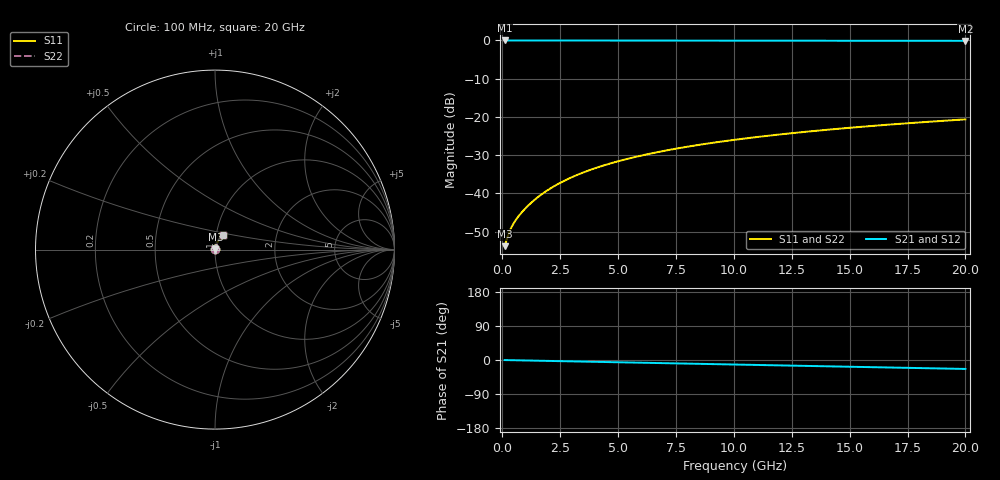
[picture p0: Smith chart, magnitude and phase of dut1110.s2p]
! Touchstone file exported from HFSS 2026.1.0
!  File:  C:/ffzhzh/LocalFiles/Ansys_Project_Files/temp_train_TMRDL_1110_1783161425_43440.aedt
!  Generated:  06:38:12 PM Jul  4, 2026
!  Design:  TMRDL
!  Project:  temp_train_TMRDL_1110_1783161425_43440
! Variables:
!  h_bsmrdl = 2um
!  h_ox = 20um
!  h_rdl = 5um
!  h_sub = 80um
!  h_tmrdl = 3.14um
!  h_tsv = 80um
!  h_via = 3um
!  l_bsmrdl = 300um
!  l_sub = 789.78um
!  l_tmrdl = 389.78um
!  m_sub = 200um
!  pitch = 36.64um
!  r_tsv = 6um
!  s_tmrdl = 10um
!  w_bsmrdl = 18um
!  w_sub = 500um
!  w_tmrdl = 28.24um
!  x_tsv_center1 = 403.9um
!  x_tsv_center2 = 721.9um
!  x_tsv_center3 = 1139.92um
!  x_tsv_center4 = 1457.92um
!  x_tsv_center5 = 1875.94um
!  x_tsv_center6 = 2193.94um
# GHz S MA R 50.000000
! Terminal data exported
! Port[1] = TM_RDL1_1_T1
! Port[2] = TM_RDL1_1_T2
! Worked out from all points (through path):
!   200 points, 100 MHz to 20 GHz, reference 50 ohm
!   highest |S21| = -0.02 dB at 100 MHz (marker M1); lowest = -0.1 dB at 20 GHz (marker M2)
!   group delay of S21, straight-line fit = 3.27 ps
!   lowest |S11| = -53.8 dB at 100 MHz (marker M3), VSWR 1.00, Z = 50.2 + j0.0811 ohm
!   |S11| at or under -10 dB: start of sweep to end of sweep
!   |S22| runs from -53.8 to -20.7 dB; largest |S21 - S12| = 3.3e-15
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0.1  0.002041 23.3  0.9981 -0.1  0.9981 -0.1  0.002041 23.3
! Gamma 0 0 0 0
! Port Impedance 50 0 50 0
0.2  0.002558 36.7  0.998 -0.3  0.998 -0.3  0.002558 36.7
0.3  0.003111 43.6  0.9978 -0.4  0.9978 -0.4  0.003111 43.6
0.4  0.003627 47.9  0.9976 -0.5  0.9976 -0.5  0.003627 47.9
0.5  0.004107 51.1  0.9975 -0.6  0.9975 -0.6  0.004107 51.1
0.6  0.004567 53.8  0.9974 -0.8  0.9974 -0.8  0.004566 53.8
0.8  0.005468 58.3  0.9972 -1.0  0.9972 -1.0  0.005468 58.3
1.2  0.007315 64.7  0.997 -1.5  0.997 -1.5  0.007314 64.7
1.7  0.009732 69.4  0.9969 -2.1  0.9969 -2.1  0.009731 69.4
2.2  0.01222 72.1  0.9967 -2.7  0.9967 -2.7  0.01222 72.1
2.8  0.01524 73.8  0.9965 -3.4  0.9965 -3.4  0.01524 73.8
3.5  0.01878 74.7  0.9962 -4.2  0.9962 -4.2  0.01878 74.7
4.2  0.0223 74.9  0.9959 -5.1  0.9959 -5.1  0.0223 75.0
5  0.02629 74.8  0.9955 -6.0  0.9955 -6.0  0.02628 74.8
5.9  0.03071 74.4  0.995 -7.1  0.995 -7.1  0.03071 74.4
6.8  0.03507 73.7  0.9944 -8.2  0.9944 -8.2  0.03507 73.7
8.3  0.04218 72.4  0.9935 -10.0  0.9935 -10.0  0.04218 72.4
10.1  0.05048 70.7  0.9924 -12.1  0.9924 -12.1  0.05048 70.7
11.7  0.05768 69.1  0.9914 -13.9  0.9914 -13.9  0.05767 69.2
13.4  0.06516 67.4  0.9903 -15.9  0.9903 -15.9  0.06515 67.5
16.7  0.07924 64.0  0.9883 -19.8  0.9883 -19.8  0.07922 64.1
20  0.09276 60.6  0.9863 -23.6  0.9863 -23.6  0.09275 60.7
